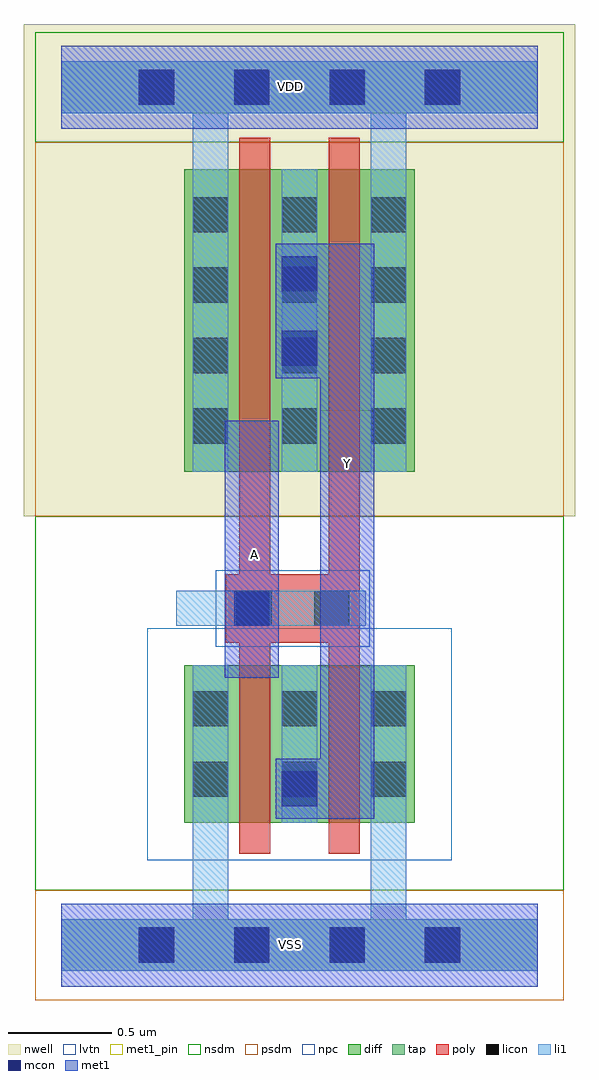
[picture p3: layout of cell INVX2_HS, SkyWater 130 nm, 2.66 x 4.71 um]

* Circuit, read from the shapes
.subckt INVX2_HS A VDD VSS Y
XM1 Y A VSS VSS sky130_fd_pr__nfet_01v8_lvt w=0.76 l=0.15 m=2
XM2 Y A VDD VDD sky130_fd_pr__pfet_01v8 w=1.46 l=0.15 m=2
.ends

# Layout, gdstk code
import gdstk
lib = gdstk.Library(unit=1e-6, precision=1e-09)
def R(c, l, rs):  # rectangles x0, y0, x1, y1
    for r in rs: c.add(gdstk.rectangle(r[:2], r[2:], *l))
def A(c, l, x, y, w, h, nx, ny, dx, dy):  # array of equal rectangles
    R(c, l, [(x+i*dx, y+j*dy, x+i*dx+w, y+j*dy+h) for i in range(nx) for j in range(ny)])
def P(c, l, *ps):  # polygons
    for p in ps: c.add(gdstk.Polygon(p, *l))
nwell = (64, 20)
diff = (65, 20)
tap = (65, 44)
poly = (66, 20)
licon = (66, 44)
li1 = (67, 20)
mcon = (67, 44)
met1_pin = (68, 16)
met1 = (68, 20)
nsdm = (93, 44)
psdm = (94, 20)
npc = (95, 20)
lvtn = (125, 44)

pyl1con_c_cdns_752016586 = lib.new_cell('PYL1CON_C_CDNS_752016586813')
R(pyl1con_c_cdns_752016586, poly, [(-0.135,-0.165,0.135,0.165)])
R(pyl1con_c_cdns_752016586, licon, [(-0.085,-0.085,0.085,0.085)])
R(pyl1con_c_cdns_752016586, npc, [(-0.185,-0.185,0.185,0.185)])

l1m1_c_cdns_752016586812 = lib.new_cell('L1M1_C_CDNS_752016586812')
R(l1m1_c_cdns_752016586812, li1, [(-0.085,-0.165,0.085,0.165)])
R(l1m1_c_cdns_752016586812, mcon, [(-0.085,-0.085,0.085,0.085)])
R(l1m1_c_cdns_752016586812, met1, [(-0.115,-0.145,0.115,0.145)])

l1m1_c_cdns_752016586816 = lib.new_cell('L1M1_C_CDNS_752016586816')
R(l1m1_c_cdns_752016586816, li1, [(-0.085,-0.345,0.085,0.345)])
R(l1m1_c_cdns_752016586816, mcon, [(-0.085,-0.265,0.085,-0.095), (-0.085,0.095,0.085,0.265)])
R(l1m1_c_cdns_752016586816, met1, [(-0.115,-0.325,0.115,0.325)])

l1m1_c_cdns_752016586811 = lib.new_cell('L1M1_C_CDNS_752016586811')
R(l1m1_c_cdns_752016586811, li1, [(-0.165,-0.085,0.165,0.085)])
R(l1m1_c_cdns_752016586811, mcon, [(-0.085,-0.085,0.085,0.085)])
R(l1m1_c_cdns_752016586811, met1, [(-0.115,-0.145,0.115,0.145)])

invx2_hs = lib.new_cell('INVX2_HS')
R(invx2_hs, nwell, [(-0.18,2.07,2.48,4.445)])
R(invx2_hs, diff, [(0.595,0.59,1.705,1.35), (0.595,2.285,1.705,3.745)])
P(invx2_hs, poly, [(1.44,3.895),(1.29,3.895),(1.29,1.79),(1.01,1.79),(1.01,3.895),(0.86,3.895),(0.86,1.79),(0.825,1.79),(0.825,1.46),(0.86,1.46),(0.86,0.44),(1.01,0.44),(1.01,1.46),(1.29,1.46),(1.29,0.44),(1.44,0.44)])
A(invx2_hs, licon, 0.375, -0.085, 0.17, 0.17, 4, 2, 0.46, 4.14)
A(invx2_hs, licon, 0.635, 0.715, 0.17, 0.17, 3, 2, 0.43, 0.34)
A(invx2_hs, licon, 0.635, 2.42, 0.17, 0.17, 3, 4, 0.43, 0.34)
R(invx2_hs, li1, [(1.065,0.59,1.235,1.35), (1.065,2.285,1.235,3.745)])
P(invx2_hs, li1, [(2.3,4.265),(0,4.265),(0,4.015),(0.635,4.015),(0.635,2.285),(0.805,2.285),(0.805,4.015),(1.495,4.015),(1.495,2.285),(1.665,2.285),(1.665,4.015),(2.3,4.015)],
  [(2.3,0.125),(1.665,0.125),(1.665,1.35),(1.495,1.35),(1.495,0.125),(0.805,0.125),(0.805,1.35),(0.635,1.35),(0.635,0.125),(0,0.125),(0,-0.125),(2.3,-0.125)])
A(invx2_hs, mcon, 0.375, -0.085, 0.17, 0.17, 4, 2, 0.46, 4.14)
R(invx2_hs, met1_pin, [(0.79,1.29,1.05,2.53), (1.25,1.34,1.51,2.58)])
R(invx2_hs, nsdm, [(-0.125,0.265,2.425,2.07), (-0.125,3.875,2.425,4.405)])
R(invx2_hs, psdm, [(-0.125,-0.265,2.425,0.265), (-0.125,2.07,2.425,3.875)])
R(invx2_hs, npc, [(0.745,1.44,1.49,1.81)])
R(invx2_hs, lvtn, [(0.415,0.41,1.885,1.53)])
invx2_hs.add(gdstk.FlexPath([(0.555,1.625),(1.47,1.625)], 0.17, ends="flush", simple_path=True, layer=67, datatype=20))  # li1
invx2_hs.add(gdstk.FlexPath([(0,4.14),(2.3,4.14)], 0.25, ends="flush", simple_path=True, layer=65, datatype=44))  # tap
invx2_hs.add(gdstk.FlexPath([(0,0),(2.3,0)], 0.25, ends="flush", simple_path=True, layer=65, datatype=44))  # tap
invx2_hs.add(gdstk.FlexPath([(0,4.14),(2.3,4.14)], 0.4, ends="flush", simple_path=True, layer=68, datatype=20))  # met1
invx2_hs.add(gdstk.FlexPath([(0,0),(2.3,0)], 0.4, ends="flush", simple_path=True, layer=68, datatype=20))  # met1
invx2_hs.add(gdstk.FlexPath([(0.92,1.29),(0.92,2.53)], 0.26, ends="flush", simple_path=True, layer=68, datatype=20))  # met1
invx2_hs.add(gdstk.FlexPath([(1.38,3.385),(1.38,0.61)], 0.26, ends="flush", simple_path=True, layer=68, datatype=20))  # met1
invx2_hs.add(gdstk.FlexPath([(0,4.14),(2.3,4.14)], 0.4, ends="flush", simple_path=True, layer=68, datatype=16))  # met1_pin
invx2_hs.add(gdstk.FlexPath([(0,0),(2.3,0)], 0.4, ends="flush", simple_path=True, layer=68, datatype=16))  # met1_pin
invx2_hs.add(gdstk.Reference(pyl1con_c_cdns_752016586, (0.93,1.625)))
invx2_hs.add(gdstk.Reference(pyl1con_c_cdns_752016586, (1.305,1.625)))
invx2_hs.add(gdstk.Reference(l1m1_c_cdns_752016586812, (1.15,0.755)))
invx2_hs.add(gdstk.Reference(l1m1_c_cdns_752016586816, (1.15,3.06)))
invx2_hs.add(gdstk.Reference(l1m1_c_cdns_752016586811, (0.92,1.625), x_reflection=True))
invx2_hs.add(gdstk.Label('VDD', (1.105,4.145), layer=68, texttype=5))
invx2_hs.add(gdstk.Label('A', (0.935,1.885), layer=68, texttype=5))
invx2_hs.add(gdstk.Label('Y', (1.38,2.325), layer=68, texttype=5))
invx2_hs.add(gdstk.Label('VSS', (1.105,0.005), layer=68, texttype=5))

lib.write_gds('INVX2_HS.gds')
